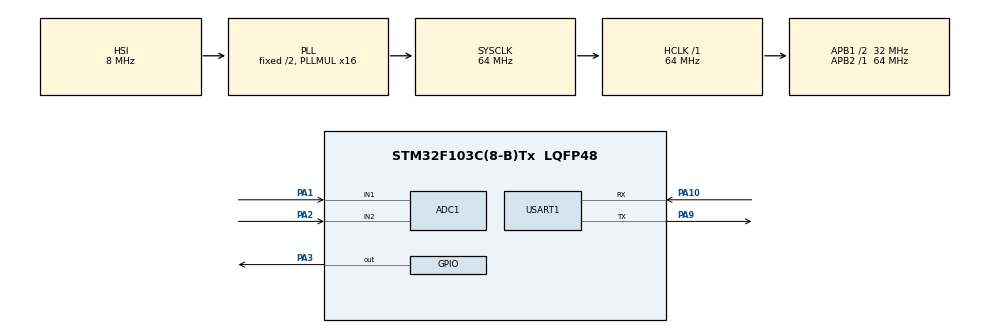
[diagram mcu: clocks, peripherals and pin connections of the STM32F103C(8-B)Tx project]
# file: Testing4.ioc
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ADC1.Channel-0\#ChannelRegularConversion=ADC_CHANNEL_2
ADC1.ContinuousConvMode=ENABLE
ADC1.NbrOfConversionFlag=1
ADC1.Rank-0\#ChannelRegularConversion=1
ADC1.SamplingTime-0\#ChannelRegularConversion=ADC_SAMPLETIME_239CYCLES_5
ADC1.master=1
Mcu.Family=STM32F1
Mcu.Name=STM32F103C(8-B)Tx
Mcu.Package=LQFP48
NVIC.PriorityGroup=NVIC_PRIORITYGROUP_4
NVIC.USART1_IRQn=true\:1\:0\:true\:false\:true\:true\:true\:true
PA1.Signal=ADCx_IN1
PA10.Mode=Asynchronous
PA10.Signal=USART1_RX
PA13.Mode=Serial_Wire
PA13.Signal=SYS_JTMS-SWDIO
PA14.Mode=Serial_Wire
PA14.Signal=SYS_JTCK-SWCLK
PA2.Signal=ADCx_IN2
PA3.Signal=GPIO_Output
PA9.Mode=Asynchronous
PA9.Signal=USART1_TX
PD0-OSC_IN.Mode=HSE-External-Oscillator
PD0-OSC_IN.Signal=RCC_OSC_IN
PD1-OSC_OUT.Mode=HSE-External-Oscillator
PD1-OSC_OUT.Signal=RCC_OSC_OUT
ProjectManager.HeapSize=0x200
ProjectManager.StackSize=0x400
ProjectManager.TargetToolchain=MDK-ARM V5.32
RCC.ADCPresc=RCC_ADCPCLK2_DIV6
RCC.AHBFreq_Value=64000000
RCC.APB1CLKDivider=RCC_HCLK_DIV2
RCC.APB1Freq_Value=32000000
RCC.APB1TimFreq_Value=64000000
RCC.APB2Freq_Value=64000000
RCC.APB2TimFreq_Value=64000000
RCC.HCLKFreq_Value=64000000
RCC.PLLMUL=RCC_PLL_MUL16
RCC.SYSCLKFreq_VALUE=64000000
RCC.SYSCLKSource=RCC_SYSCLKSOURCE_PLLCLK
RCC.USBFreq_Value=64000000
SH.ADCx_IN1.0=ADC1_IN1,IN1
SH.ADCx_IN2.0=ADC1_IN2,IN2
USART1.VirtualMode=VM_ASYNC
board=custom

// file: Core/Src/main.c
/* USER CODE BEGIN Header */
/**
  ******************************************************************************
  * @file           : main.c
  * @brief          : Main program body
  ******************************************************************************
  * @attention
  *
  * Copyright (c) 2024 STMicroelectronics.
  * All rights reserved.
  *
  * This software is licensed under terms that can be found in the LICENSE file
  * in the root directory of this software component.
  * If no LICENSE file comes with this software, it is provided AS-IS.
  *
  ******************************************************************************
  */
/* USER CODE END Header */
#include "main.h"

/* USER CODE BEGIN Includes */
#include "string.h"
#include "math.h"
#include "uart.h"
#include "Ringbuffer.h"
/* USER CODE END Includes */

ADC_HandleTypeDef hadc1;

UART_HandleTypeDef huart1;

void SystemClock_Config(void);
static void MX_GPIO_Init(void);
static void MX_ADC1_Init(void);
static void MX_USART1_UART_Init(void);
/* USER CODE BEGIN PFP */

#define CMD_LIGHT "light"

uint8_t data_rx;
uint8_t flag = 0;

void get_adc_value_channel(uint32_t channel)
{
	ADC_ChannelConfTypeDef sConfig = {0};
	sConfig.Channel = channel;
  sConfig.Rank = ADC_REGULAR_RANK_1;
  sConfig.SamplingTime = ADC_SAMPLETIME_239CYCLES_5;
  if (HAL_ADC_ConfigChannel(&hadc1, &sConfig) != HAL_OK)
  {
    Error_Handler();
  }

}
double current_test;

float Current_getValue(){
	get_adc_value_channel(ADC_CHANNEL_1);
  uint16_t adc_current_max = 0;
  uint16_t adc_current_min = 4095;
  uint16_t time_loop =0;
  uint16_t adc_current_value;
  HAL_ADC_Start(&hadc1);
  while (time_loop < 500)
  {
    HAL_ADC_PollForConversion(&hadc1, 1000);
    adc_current_value = HAL_ADC_GetValue(&hadc1);

    if (adc_current_value  > adc_current_max){
      adc_current_max = adc_current_value;
    }

    if (adc_current_value  < adc_current_min){
      adc_current_min = adc_current_value;
    }
    time_loop ++;
  }
  HAL_ADC_Stop(&hadc1);

  uint16_t adc_currrent_pp;
  float current_rms;

  adc_currrent_pp = adc_current_max - adc_current_min;
  current_rms = (adc_currrent_pp * 3.3 /4095)*150.553/180;  // RMS equation
  return current_rms;
}

float voltage_test;

uint16_t period = 20000;
uint16_t sensitivity = 920;

int getZeroPoint()
{
	get_adc_value_channel(ADC_CHANNEL_2);
	uint32_t Vsum = 0;
	uint32_t measurements_count = 0;
	HAL_ADC_Start(&hadc1);
	while(measurements_count < period)
	{

		HAL_ADC_PollForConversion(&hadc1, 100);
		Vsum += HAL_ADC_GetValue(&hadc1);
		measurements_count++;
	}
	HAL_ADC_Stop(&hadc1);

	return Vsum / measurements_count;
}

float getRmsVoltage()
{
	get_adc_value_channel(ADC_CHANNEL_2);
	double readingVoltage = 0.0;

		int zeroPoint = getZeroPoint();

		int32_t Vnow = 0;
		uint32_t Vsum = 0;
		uint32_t measurements_count = 0;
		HAL_ADC_Start(&hadc1);
		while(measurements_count < period)
		{
			HAL_ADC_PollForConversion(&hadc1, 100);
			Vnow = HAL_ADC_GetValue(&hadc1) - zeroPoint;
			Vsum += (Vnow * Vnow);
			measurements_count++;
		}
		HAL_ADC_Stop(&hadc1);
		readingVoltage = sqrt(Vsum / measurements_count) / 4095 * 3.3 * sensitivity;

	return readingVoltage;
}

void HAL_UART_RxCpltCallback(UART_HandleTypeDef *huart)
{
	if(huart -> Instance == huart1.Instance)
	{
		receive_rx(data_rx);
		HAL_UART_Receive_IT(&huart1, &data_rx, 1);
	}
	flag = 1;
}

uint8_t data_esp32[64];
uint8_t data_esp32_index = 0;
uint8_t time;

void readLine_Uart()
{
	uint8_t data = uart_read();
	while(data != '\n')
	{
		data_esp32[data_esp32_index] = data;
		data = uart_read();
		data_esp32_index++;
	}
	data_esp32[data_esp32_index] = '\0';
	data_esp32_index = 0;
	flag = 0;
}
uint16_t light_turn;

uint16_t cmd_handler(char *str, char *manhandang)
{
	char *pCmd = strstr(str, manhandang);
	if(pCmd != NULL)
	{
		pCmd += strlen(manhandang);
		if(*pCmd == ':')
		{
			pCmd++;
			uint32_t number = NULL;
			while(1)
			{
				if(*pCmd >= '0' && *pCmd <= '9')
				{
					number *= 10;
					number += *pCmd - '0';
				}
				else if(*pCmd == ';')
				{
					break;
				}
				pCmd++;
			}
	return number;
		}
	}
	return -1;
}

/* USER CODE END PFP */

int main(void)
{

  /* MCU Configuration--------------------------------------------------------*/

  /* Reset of all peripherals, Initializes the Flash interface and the Systick. */
  HAL_Init();

  /* Configure the system clock */
  SystemClock_Config();

  /* Initialize all configured peripherals */
  MX_GPIO_Init();
  MX_ADC1_Init();
  MX_USART1_UART_Init();
  /* USER CODE BEGIN 2 */
	HAL_UART_Receive_IT(&huart1, &data_rx, 1);
	uart_init();
	HAL_ADCEx_Calibration_Start(&hadc1);

  /* USER CODE END 2 */

  /* Infinite loop */
  while (1)
  {

    /* USER CODE BEGIN 3 */

		current_test = Current_getValue();
		voltage_test = getRmsVoltage();
		if(flag)
		{
			readLine_Uart();
			light_turn = cmd_handler((char *)data_esp32, CMD_LIGHT);
			HAL_GPIO_WritePin(GPIOA, GPIO_PIN_3, (GPIO_PinState)light_turn);
		}
		if(HAL_GetTick() - time >= 4000)
		{
		char trans[32];
		int len = sprintf(trans, "voltage:%d;current:%.2f;\n",(int)voltage_test, current_test);
		HAL_UART_Transmit(&huart1, (uint8_t *)trans, len, 300);
		time = HAL_GetTick();
		}

  }
  /* USER CODE END 3 */
}

void SystemClock_Config(void)
{
  RCC_OscInitTypeDef RCC_OscInitStruct = {0};
  RCC_ClkInitTypeDef RCC_ClkInitStruct = {0};
  RCC_PeriphCLKInitTypeDef PeriphClkInit = {0};

  /** Initializes the RCC Oscillators according to the specified parameters
  * in the RCC_OscInitTypeDef structure.
  */
  RCC_OscInitStruct.OscillatorType = RCC_OSCILLATORTYPE_HSI;
  RCC_OscInitStruct.HSIState = RCC_HSI_ON;
  RCC_OscInitStruct.HSICalibrationValue = RCC_HSICALIBRATION_DEFAULT;
  RCC_OscInitStruct.PLL.PLLState = RCC_PLL_ON;
  RCC_OscInitStruct.PLL.PLLSource = RCC_PLLSOURCE_HSI_DIV2;
  RCC_OscInitStruct.PLL.PLLMUL = RCC_PLL_MUL16;
  if (HAL_RCC_OscConfig(&RCC_OscInitStruct) != HAL_OK)
  {
    Error_Handler();
  }

  /** Initializes the CPU, AHB and APB buses clocks
  */
  RCC_ClkInitStruct.ClockType = RCC_CLOCKTYPE_HCLK|RCC_CLOCKTYPE_SYSCLK
                              |RCC_CLOCKTYPE_PCLK1|RCC_CLOCKTYPE_PCLK2;
  RCC_ClkInitStruct.SYSCLKSource = RCC_SYSCLKSOURCE_PLLCLK;
  RCC_ClkInitStruct.AHBCLKDivider = RCC_SYSCLK_DIV1;
  RCC_ClkInitStruct.APB1CLKDivider = RCC_HCLK_DIV2;
  RCC_ClkInitStruct.APB2CLKDivider = RCC_HCLK_DIV1;

  if (HAL_RCC_ClockConfig(&RCC_ClkInitStruct, FLASH_LATENCY_2) != HAL_OK)
  {
    Error_Handler();
  }
  PeriphClkInit.PeriphClockSelection = RCC_PERIPHCLK_ADC;
  PeriphClkInit.AdcClockSelection = RCC_ADCPCLK2_DIV6;
  if (HAL_RCCEx_PeriphCLKConfig(&PeriphClkInit) != HAL_OK)
  {
    Error_Handler();
  }
}

static void MX_ADC1_Init(void)
{

  ADC_ChannelConfTypeDef sConfig = {0};

  /** Common config
  */
  hadc1.Instance = ADC1;
  hadc1.Init.ScanConvMode = ADC_SCAN_DISABLE;
  hadc1.Init.ContinuousConvMode = ENABLE;
  hadc1.Init.DiscontinuousConvMode = DISABLE;
  hadc1.Init.ExternalTrigConv = ADC_SOFTWARE_START;
  hadc1.Init.DataAlign = ADC_DATAALIGN_RIGHT;
  hadc1.Init.NbrOfConversion = 1;
  if (HAL_ADC_Init(&hadc1) != HAL_OK)
  {
    Error_Handler();
  }

  /** Configure Regular Channel
  */
  sConfig.Channel = ADC_CHANNEL_2;
  sConfig.Rank = ADC_REGULAR_RANK_1;
  sConfig.SamplingTime = ADC_SAMPLETIME_239CYCLES_5;
  if (HAL_ADC_ConfigChannel(&hadc1, &sConfig) != HAL_OK)
  {
    Error_Handler();
  }

}

static void MX_USART1_UART_Init(void)
{

  huart1.Instance = USART1;
  huart1.Init.BaudRate = 115200;
  huart1.Init.WordLength = UART_WORDLENGTH_8B;
  huart1.Init.StopBits = UART_STOPBITS_1;
  huart1.Init.Parity = UART_PARITY_NONE;
  huart1.Init.Mode = UART_MODE_TX_RX;
  huart1.Init.HwFlowCtl = UART_HWCONTROL_NONE;
  huart1.Init.OverSampling = UART_OVERSAMPLING_16;
  if (HAL_UART_Init(&huart1) != HAL_OK)
  {
    Error_Handler();
  }

}

static void MX_GPIO_Init(void)
{
  GPIO_InitTypeDef GPIO_InitStruct = {0};

  /* GPIO Ports Clock Enable */
  __HAL_RCC_GPIOD_CLK_ENABLE();
  __HAL_RCC_GPIOA_CLK_ENABLE();

  /*Configure GPIO pin Output Level */
  HAL_GPIO_WritePin(GPIOA, GPIO_PIN_3, GPIO_PIN_RESET);

  /*Configure GPIO pin : PA3 */
  GPIO_InitStruct.Pin = GPIO_PIN_3;
  GPIO_InitStruct.Mode = GPIO_MODE_OUTPUT_PP;
  GPIO_InitStruct.Pull = GPIO_NOPULL;
  GPIO_InitStruct.Speed = GPIO_SPEED_FREQ_LOW;
  HAL_GPIO_Init(GPIOA, &GPIO_InitStruct);

}

void Error_Handler(void)
{
  __disable_irq();
  while (1)
  {
  }
}
